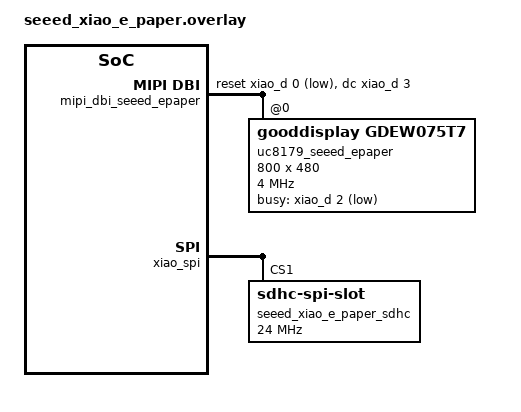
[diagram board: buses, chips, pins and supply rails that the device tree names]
/*
# Copyright (c) 2026 Ujjval Rathod <ujjwalrathod007@gmail.com>
# SPDX-License-Identifier: Apache-2.0
*/

&xiao_spi {
	status = "okay";
	cs-gpios = <&xiao_d 1 GPIO_ACTIVE_LOW>;	/* A1-D1 */

	seeed_xiao_e_paper_sdhc: sdhc@1 {
		compatible = "zephyr,sdhc-spi-slot";
		reg = <1>;
		status = "okay";
		spi-max-frequency = <24000000>;
		mmc {
			compatible = "zephyr,sdmmc-disk";
			disk-name = "SD";
			status = "okay";
		};
	};
};

/ {
	chosen {
		zephyr,display = &uc8179_seeed_epaper;
	};

	mipi_dbi_seeed_epaper {
		compatible = "zephyr,mipi-dbi-spi";
		spi-dev = <&xiao_spi>;
		dc-gpios = <&xiao_d 3 GPIO_ACTIVE_HIGH>;	/* D3 */
		reset-gpios = <&xiao_d 0 GPIO_ACTIVE_LOW>;	/* D0 */
		write-only;
		#address-cells = <1>;
		#size-cells = <0>;

		uc8179_seeed_epaper: uc8179@0 {
			compatible = "gooddisplay,gdew075t7", "ultrachip,uc8179";
			mipi-max-frequency = <4000000>;
			reg = <0>;
			width = <800>;
			height = <480>;
			busy-gpios = <&xiao_d 2 GPIO_ACTIVE_LOW>; /* D2 */

			softstart = [17 17 17 17];

			full {
				pwr = [07 07 3f 3f];
				cdi = <07>;
				tcon = <0x22>;
			};
		};
	};
};
